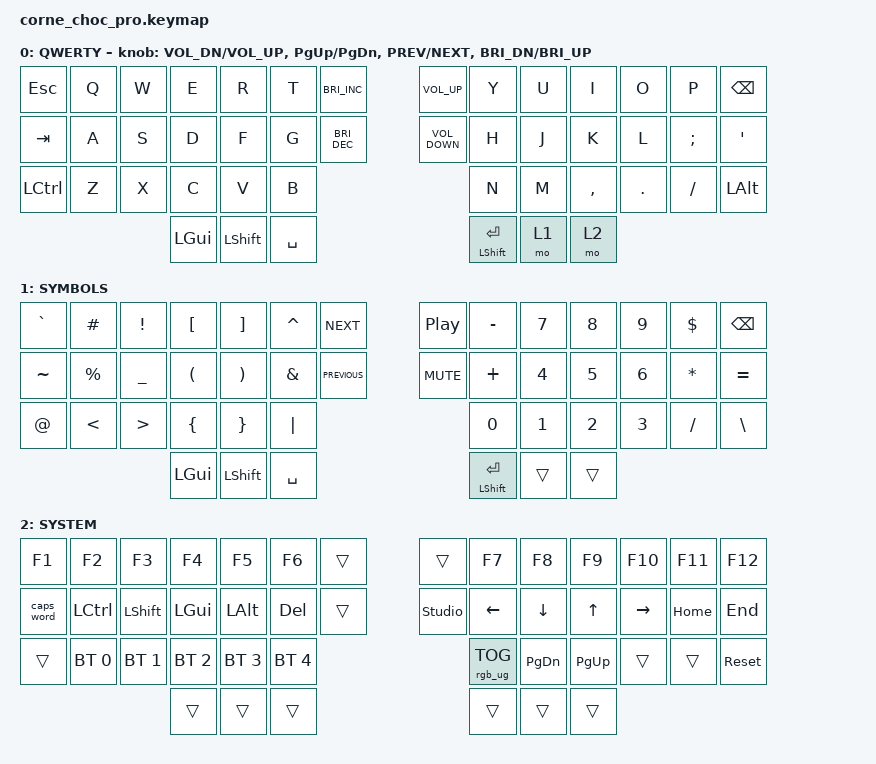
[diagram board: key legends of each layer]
/*
 * Copyright (c) 2020 The ZMK Contributors
 *
 * SPDX-License-Identifier: MIT
 */

#include <behaviors.dtsi>
#include <dt-bindings/zmk/bt.h>
#include <dt-bindings/zmk/keys.h>
#include <dt-bindings/zmk/rgb.h>

/ {
    chosen { zmk,physical-layout = &default_layout; };
};

/ {
    combos { compatible = "zmk,combos"; };

    keymap {
        compatible = "zmk,keymap";

        default_layer {
            display-name = "QWERTY";

            // --------------------------------------------------------------------------------
            // |  TAB |  Q  |  W  |  E  |  R  |  T  |  MUTE |  PP   |  Y  |  U   |  I  |  O  |  P  | BSPC |
            // | CTRL |  A  |  S  |  D  |  F  |  G  |  LALT |  RALT |  H  |  J   |  K  |  L  |  ;  |  '   |
            // | SHFT |  Z  |  X  |  C  |  V  |  B  |               |  N  |  M   |  ,  |  .  |  /  | ESC  |
            //                    | GUI | LWR | SPC |               | ENT | RSE  | ALT |

            bindings = <
&kp ESC    &kp Q  &kp W  &kp E     &kp R           &kp T      &kp C_BRIGHTNESS_INC  &kp C_VOLUME_UP    &kp Y                  &kp U  &kp I      &kp O    &kp P     &kp BSPC
&kp TAB    &kp A  &kp S  &kp D     &kp F           &kp G      &kp C_BRIGHTNESS_DEC  &kp C_VOLUME_DOWN  &kp H                  &kp J  &kp K      &kp L    &kp SEMI  &kp SQT
&kp LCTRL  &kp Z  &kp X  &kp C     &kp V           &kp B                                               &kp N                  &kp M  &kp COMMA  &kp DOT  &kp FSLH  &kp LEFT_ALT
                         &kp LGUI  &kp LEFT_SHIFT  &kp SPACE                                           &mt LEFT_SHIFT RETURN  &mo 1  &mo 2
            >;

            sensor-bindings = <&inc_dec_kp C_VOL_DN C_VOL_UP &inc_dec_kp PG_UP PG_DN &inc_dec_kp C_PREV C_NEXT &inc_dec_kp C_BRI_DN C_BRI_UP>;
        };

        lower_layer {
            display-name = "SYMBOLS";

            // -----------------------------------------------------------------------------------------
            // |  TAB |  1  |  2  |  3  |  4  |  5    |  LCTRL | RCTRL |  6  |  7  |  8  |  9  |  0  | BSPC |
            // | CTRL | BT1 | BT2 | BT3 | BT4 | BT5   |  LALT  | RALT  | LFT | DWN |  UP | RGT |     |      |
            // | SHFT | BTCR| RGB | RST | BOOT| Unlock|        |       |     |     |     |     |     |      |
            //                    | GUI |     | SPC   |        | ENT   |     | ALT |

            bindings = <
&kp GRAVE  &kp HASH       &kp EXCL          &kp LEFT_BRACKET      &kp RIGHT_BRACKET      &kp CARET  &kp C_NEXT      &kp C_PLAY_PAUSE  &kp MINUS              &kp N7        &kp N8        &kp N9        &kp DOLLAR  &kp BACKSPACE
&kp TILDE  &kp PERCENT    &kp UNDERSCORE    &kp LEFT_PARENTHESIS  &kp RIGHT_PARENTHESIS  &kp AMPS   &kp C_PREVIOUS  &kp C_MUTE        &kp PLUS               &kp NUMBER_4  &kp N5        &kp NUMBER_6  &kp ASTRK   &kp EQUAL
&kp AT     &kp LESS_THAN  &kp GREATER_THAN  &kp LEFT_BRACE        &kp RIGHT_BRACE        &kp PIPE                                     &kp N0                 &kp NUMBER_1  &kp NUMBER_2  &kp NUMBER_3  &kp SLASH   &kp BACKSLASH
                                            &kp LGUI              &kp LEFT_SHIFT         &kp SPACE                                    &mt LEFT_SHIFT RETURN  &trans        &trans
            >;
        };

        lower_layer_2 {
            display-name = "SYSTEM";
            bindings = <
&kp F1      &kp F2        &kp F3          &kp F4        &kp F5        &kp F6        &trans  &trans          &kp F7           &kp F8          &kp F9        &kp F10          &kp F11   &kp F12
&caps_word  &kp LCTRL     &kp LEFT_SHIFT  &kp LGUI      &kp LEFT_ALT  &kp DELETE    &trans  &studio_unlock  &kp LEFT_ARROW   &kp DOWN_ARROW  &kp UP_ARROW  &kp RIGHT_ARROW  &kp HOME  &kp END
&trans      &bt BT_SEL 0  &bt BT_SEL 1    &bt BT_SEL 2  &bt BT_SEL 3  &bt BT_SEL 4                          &rgb_ug RGB_TOG  &kp PAGE_DOWN   &kp PAGE_UP   &trans           &trans    &sys_reset
                                          &trans        &trans        &trans                                &trans           &trans          &trans
            >;
        };
    };
};
